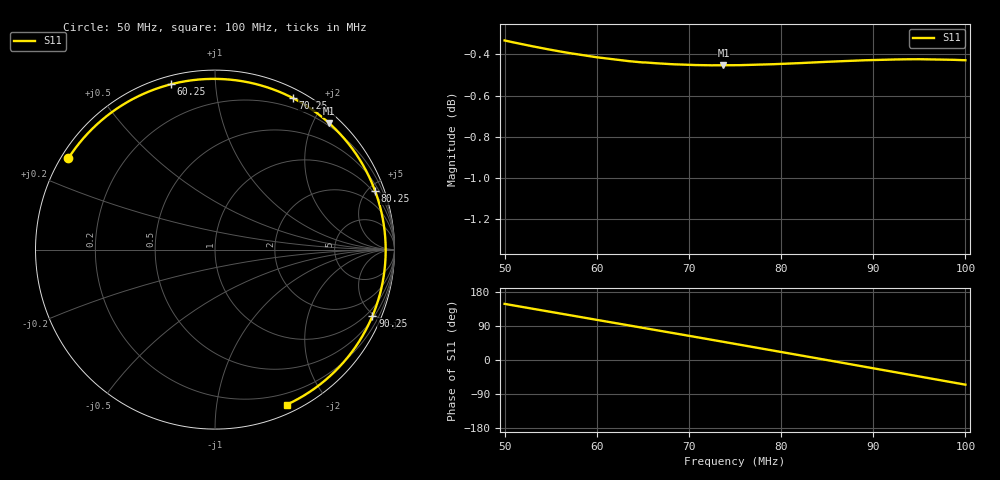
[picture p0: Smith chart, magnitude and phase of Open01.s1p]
!Agilent Technologies,E5072A,MY51200456,A.01.06
!Date: Thu Sep 03 20:47:12 2015
!Data & Calibration Information:
!Freq	S11:SOLT1(ON)
!PortZ  Port1:50+j0
!Above PortZ is port z conversion or system Z0 setting when saving the data.
!When reading, reference impedance value at option line is always used.
# Hz S dB R 50
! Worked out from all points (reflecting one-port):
!   201 points, 50 MHz to 100 MHz, reference 50 ohm
!   lowest |S11| = -0.5 dB at 73.75 MHz (marker M1), VSWR 38.33, Z = 7.88 + j112 ohm
!   phase of S11 starts at 148 deg and turns -213 deg over the sweep
!   S11 on the Smith chart (normalised r, x): 50 MHz: 0.02, +0.29; 60.25 MHz: 0.04, +0.77; 70.25 MHz: 0.10, +1.63; 80.25 MHz: 0.82, +5.50; 90.25 MHz: 0.62, -4.87; 100 MHz: 0.09, -1.56
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5e7  -0.33 148.1
5.15e7  -0.35 141.8
5.325e7  -0.36 134.4
5.625e7  -0.39 121.8
5.825e7  -0.40 113.4
6.025e7  -0.42 105.0
6.25e7  -0.43 95.5
6.4e7  -0.44 89.2
6.55e7  -0.44 82.9
6.7e7  -0.44 76.6
6.875e7  -0.45 69.2
7.025e7  -0.45 62.8
7.2e7  -0.45 55.4
7.375e7  -0.45 47.9
7.5e7  -0.45 42.6
7.775e7  -0.45 30.9
8.025e7  -0.45 20.2
8.125e7  -0.44 15.9
8.275e7  -0.44 9.5
8.45e7  -0.44 1.9
8.6e7  -0.43 -4.5
8.75e7  -0.43 -11.0
9.025e7  -0.43 -22.9
9.2e7  -0.43 -30.4
9.375e7  -0.42 -38.0
9.7e7  -0.42 -52.1
9.85e7  -0.43 -58.6
1e8  -0.43 -65.1
